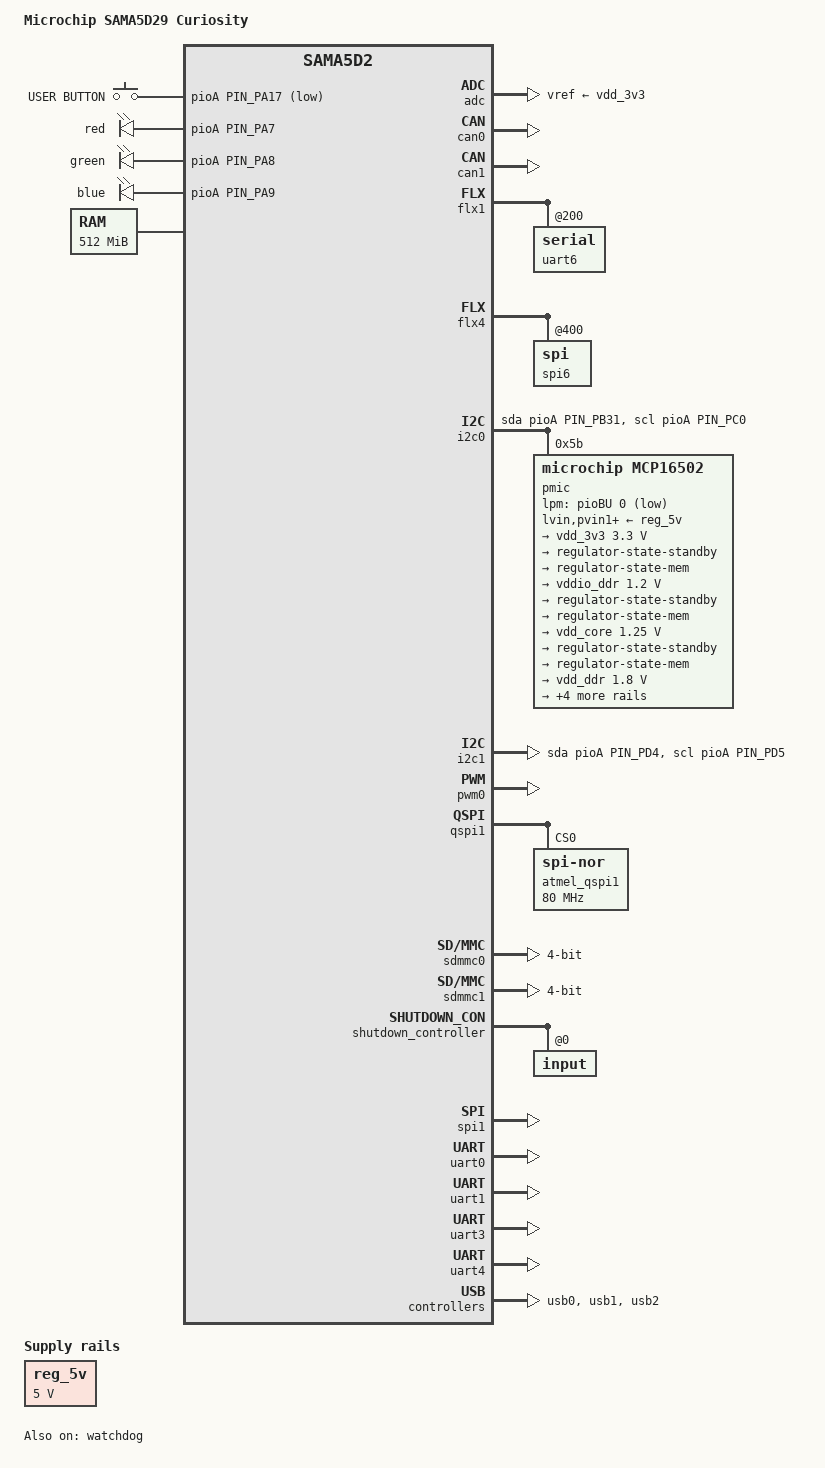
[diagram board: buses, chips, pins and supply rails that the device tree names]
// SPDX-License-Identifier: (GPL-2.0+ OR MIT)
/*
 * at91-sama5d29_curiosity.dts - Device Tree file for SAMA5D29 Curiosity board
 *
 * Copyright (C) 2023 Microchip Technology Inc. and its subsidiaries
 *
 * Author: Mihai Sain <mihai.sain@microchip.com>
 *
 */
/dts-v1/;
#include "sama5d29.dtsi"
#include "sama5d2-pinfunc.h"
#include <dt-bindings/gpio/gpio.h>
#include <dt-bindings/input/input.h>
#include <dt-bindings/mfd/atmel-flexcom.h>

/ {
	model = "Microchip SAMA5D29 Curiosity";
	compatible = "microchip,sama5d29-curiosity", "atmel,sama5d29", "atmel,sama5d2", "atmel,sama5";

	aliases {
		serial0 = &uart0;	// debug
		serial1 = &uart1;	// RPi
		serial2 = &uart3;	// mikro BUS 2
		serial3 = &uart4;	// mikro BUS 1
		serial4 = &uart6;	// flx1 Bluetooth
		i2c0 = &i2c0;
		i2c1 = &i2c1;
	};

	chosen {
		bootargs = "console=ttyS0,115200 root=/dev/mmcblk0p2 rw rootwait";
		stdout-path = "serial0:115200n8";
	};

	clocks {
		slow_xtal {
			clock-frequency = <32768>;
		};

		main_xtal {
			clock-frequency = <24000000>;
		};
	};

	gpio-keys {
		compatible = "gpio-keys";

		pinctrl-names = "default";
		pinctrl-0 = <&pinctrl_key_gpio_default>;

		button-1 {
			label = "USER BUTTON";
			gpios = <&pioA PIN_PA17 GPIO_ACTIVE_LOW>;
			linux,code = <KEY_PROG1>;
			wakeup-source;
		};
	};

	leds {
		compatible = "gpio-leds";
		pinctrl-names = "default";
		pinctrl-0 = <&pinctrl_led_gpio_default>;
		status = "okay";

		led-red {
			label = "red";
			gpios = <&pioA PIN_PA7 GPIO_ACTIVE_HIGH>;
		};

		led-green {
			label = "green";
			gpios = <&pioA PIN_PA8 GPIO_ACTIVE_HIGH>;
		};

		led-blue {
			label = "blue";
			gpios = <&pioA PIN_PA9 GPIO_ACTIVE_HIGH>;
			linux,default-trigger = "heartbeat";
		};
	};

	memory@20000000 {
		device_type = "memory";
		reg = <0x20000000 0x20000000>;
	};

	reg_5v: regulator-5v {
		compatible = "regulator-fixed";
		regulator-name = "5V_MAIN";
		regulator-min-microvolt = <5000000>;
		regulator-max-microvolt = <5000000>;
		regulator-always-on;
	};
};

&adc {
	vddana-supply = <&vdd_3v3>;
	vref-supply = <&vdd_3v3>;
	pinctrl-names = "default";
	pinctrl-0 = <&pinctrl_adc_default &pinctrl_adtrg_default>;
	status = "okay";
};

&can0 {
	pinctrl-names = "default";
	pinctrl-0 = <&pinctrl_can0_default>;
	status = "okay";
};

&can1 {
	pinctrl-names = "default";
	pinctrl-0 = <&pinctrl_can1_default>;
	status = "okay";
};

&flx1 {
	atmel,flexcom-mode = <ATMEL_FLEXCOM_MODE_USART>;
	status = "okay";

	uart6: serial@200 {
		pinctrl-0 = <&pinctrl_flx1_default>;
		pinctrl-names = "default";
		atmel,use-dma-rx;
		atmel,use-dma-tx;
		status = "okay";
	};
};

&flx4 {
	atmel,flexcom-mode = <ATMEL_FLEXCOM_MODE_SPI>;
	status = "okay";

	spi6: spi@400 {
		dmas = <0>, <0>;
		pinctrl-names = "default";
		pinctrl-0 = <&pinctrl_rpi_spi>;
		status = "okay";
	};
};

&i2c0 {
	dmas = <0>, <0>;
	pinctrl-names = "default", "gpio";
	pinctrl-0 = <&pinctrl_i2c0_default>;
	pinctrl-1 = <&pinctrl_i2c0_gpio>;
	sda-gpios = <&pioA PIN_PB31 GPIO_ACTIVE_HIGH>;
	scl-gpios = <&pioA PIN_PC0 (GPIO_ACTIVE_HIGH | GPIO_OPEN_DRAIN)>;
	i2c-sda-hold-time-ns = <350>;
	status = "okay";

	pmic@5b {
		compatible = "microchip,mcp16502";
		reg = <0x5b>;
		lvin-supply = <&reg_5v>;
		pvin1-supply = <&reg_5v>;
		pvin2-supply = <&reg_5v>;
		pvin3-supply = <&reg_5v>;
		pvin4-supply = <&reg_5v>;
		status = "okay";
		lpm-gpios = <&pioBU 0 GPIO_ACTIVE_LOW>;

		regulators {
			vdd_3v3: VDD_IO {
				regulator-name = "VDD_IO";
				regulator-min-microvolt = <3300000>;
				regulator-max-microvolt = <3300000>;
				regulator-initial-mode = <2>;
				regulator-allowed-modes = <2>, <4>;
				regulator-always-on;

				regulator-state-standby {
					regulator-on-in-suspend;
					regulator-mode = <4>;
				};

				regulator-state-mem {
					regulator-off-in-suspend;
					regulator-mode = <4>;
				};
			};

			vddio_ddr: VDD_DDR {
				regulator-name = "VDD_DDR";
				regulator-min-microvolt = <1200000>;
				regulator-max-microvolt = <1200000>;
				regulator-initial-mode = <2>;
				regulator-allowed-modes = <2>, <4>;
				regulator-always-on;

				regulator-state-standby {
					regulator-on-in-suspend;
					regulator-suspend-microvolt = <1200000>;
					regulator-changeable-in-suspend;
					regulator-mode = <4>;
				};

				regulator-state-mem {
					regulator-on-in-suspend;
					regulator-suspend-microvolt = <1200000>;
					regulator-changeable-in-suspend;
					regulator-mode = <4>;
				};
			};

			vdd_core: VDD_CORE {
				regulator-name = "VDD_CORE";
				regulator-min-microvolt = <1250000>;
				regulator-max-microvolt = <1250000>;
				regulator-initial-mode = <2>;
				regulator-allowed-modes = <2>, <4>;
				regulator-always-on;

				regulator-state-standby {
					regulator-on-in-suspend;
					regulator-mode = <4>;
				};

				regulator-state-mem {
					regulator-off-in-suspend;
					regulator-mode = <4>;
				};
			};

			vdd_ddr: VDD_OTHER {
				regulator-name = "VDD_OTHER";
				regulator-min-microvolt = <1800000>;
				regulator-max-microvolt = <1800000>;
				regulator-initial-mode = <2>;
				regulator-allowed-modes = <2>, <4>;
				regulator-always-on;

				regulator-state-standby {
					regulator-on-in-suspend;
					regulator-suspend-microvolt = <1800000>;
					regulator-changeable-in-suspend;
					regulator-mode = <4>;
				};

				regulator-state-mem {
					regulator-on-in-suspend;
					regulator-suspend-microvolt = <1800000>;
					regulator-changeable-in-suspend;
					regulator-mode = <4>;
				};
			};

			LDO1 {
				regulator-name = "LDO1";
				regulator-min-microvolt = <2500000>;
				regulator-max-microvolt = <2500000>;
				regulator-always-on;

				regulator-state-standby {
					regulator-on-in-suspend;
				};

				regulator-state-mem {
					regulator-off-in-suspend;
				};
			};

			LDO2 {
				regulator-name = "LDO2";
				regulator-min-microvolt = <3300000>;
				regulator-max-microvolt = <3300000>;
				regulator-always-on;

				regulator-state-standby {
					regulator-on-in-suspend;
				};

				regulator-state-mem {
					regulator-off-in-suspend;
				};
			};
		};
	};
};

&i2c1 {
	dmas = <0>, <0>;
	pinctrl-names = "default", "gpio";
	pinctrl-0 = <&pinctrl_i2c1_default>;
	pinctrl-1 = <&pinctrl_i2c1_gpio>;
	i2c-analog-filter;
	i2c-digital-filter;
	i2c-digital-filter-width-ns = <35>;
	sda-gpios = <&pioA PIN_PD4 GPIO_ACTIVE_HIGH>;
	scl-gpios = <&pioA PIN_PD5 (GPIO_ACTIVE_HIGH | GPIO_OPEN_DRAIN)>;
	status = "okay";
};

&pioA {
	pinctrl_adc_default: adc-default {
		pinmux = <PIN_PD25__GPIO>,
			 <PIN_PD26__GPIO>;
		bias-disable;
	};

	pinctrl_adtrg_default: adtrg-default {
		pinmux = <PIN_PD31__ADTRG>;
		bias-pull-up;
	};

	pinctrl_can0_default: can0-default {
		pinmux = <PIN_PC10__CANTX0>,
			 <PIN_PC11__CANRX0>;
		bias-disable;
	};

	pinctrl_can1_default: can1-default {
		pinmux = <PIN_PC26__CANTX1>,
			 <PIN_PC27__CANRX1>;
		bias-disable;
	};

	pinctrl_debug_uart: debug-uart {
		pinmux = <PIN_PB26__URXD0>,
			 <PIN_PB27__UTXD0>;
		bias-disable;
	};

	pinctrl_flx1_default: flx1-default {
		pinmux = <PIN_PA24__FLEXCOM1_IO0>,
			 <PIN_PA23__FLEXCOM1_IO1>,
			 <PIN_PA25__FLEXCOM1_IO3>,
			 <PIN_PA26__FLEXCOM1_IO4>;
		bias-disable;
	};

	pinctrl_i2c0_default: i2c0-default {
		pinmux = <PIN_PB31__TWD0>,
			 <PIN_PC0__TWCK0>;
		bias-disable;
	};

	pinctrl_i2c0_gpio: i2c0-gpio-default {
		pinmux = <PIN_PB31__GPIO>,
			 <PIN_PC0__GPIO>;
		bias-disable;
	};

	pinctrl_i2c1_default: i2c1-default {
		pinmux = <PIN_PD4__TWD1>,
			 <PIN_PD5__TWCK1>;
		bias-disable;
	};

	pinctrl_i2c1_gpio: i2c1-gpio-default {
		pinmux = <PIN_PD4__GPIO>,
			 <PIN_PD5__GPIO>;
		bias-disable;
	};

	pinctrl_key_gpio_default: key-gpio-default {
		pinmux = <PIN_PA17__GPIO>;
		bias-pull-up;
	};

	pinctrl_led_gpio_default: led-gpio-default {
		pinmux = <PIN_PA7__GPIO>,
			 <PIN_PA8__GPIO>,
			 <PIN_PA9__GPIO>;
		bias-pull-up;
	};

	pinctrl_mikrobus1_pwm: mikrobus1-pwm {
		pinmux = <PIN_PA31__PWML0>;
		bias-disable;
	};

	pinctrl_mikrobus2_pwm: mikrobus2-pwm {
		pinmux = <PIN_PB0__PWMH1>;
		bias-disable;
	};

	pinctrl_mikrobus1_uart: mikrobus1-uart {
		pinmux = <PIN_PB3__URXD4>,
			 <PIN_PB4__UTXD4>;
		bias-disable;
	};

	pinctrl_mikrobus2_uart: mikrobus2-uart {
		pinmux = <PIN_PB11__URXD3>,
			 <PIN_PB12__UTXD3>;
		bias-disable;
	};

	pinctrl_qspi1_default: qspi1-default {
		pinmux = <PIN_PB5__QSPI1_SCK>,
			 <PIN_PB6__QSPI1_CS>,
			 <PIN_PB7__QSPI1_IO0>,
			 <PIN_PB8__QSPI1_IO1>,
			 <PIN_PB9__QSPI1_IO2>,
			 <PIN_PB10__QSPI1_IO3>;
		bias-disable;
	};

	pinctrl_rpi_spi: rpi-spi {
		pinmux = <PIN_PD12__FLEXCOM4_IO0>,
			 <PIN_PD13__FLEXCOM4_IO1>,
			 <PIN_PD14__FLEXCOM4_IO2>,
			 <PIN_PD15__FLEXCOM4_IO3>,
			 <PIN_PD16__FLEXCOM4_IO4>;
		bias-disable;
	};

	pinctrl_rpi_uart: rpi-uart {
		pinmux = <PIN_PD2__URXD1>,
			 <PIN_PD3__UTXD1>;
		bias-disable;
	};

	pinctrl_sdmmc0_default: sdmmc0-default {
		pinmux = <PIN_PA0__SDMMC0_CK>,
			 <PIN_PA1__SDMMC0_CMD>,
			 <PIN_PA2__SDMMC0_DAT0>,
			 <PIN_PA3__SDMMC0_DAT1>,
			 <PIN_PA4__SDMMC0_DAT2>,
			 <PIN_PA5__SDMMC0_DAT3>,
			 <PIN_PA11__SDMMC0_VDDSEL>,
			 <PIN_PA13__SDMMC0_CD>;
		bias-disable;
	};

	pinctrl_sdmmc1_default: sdmmc1-default {
		pinmux = <PIN_PA18__SDMMC1_DAT0>,
			 <PIN_PA19__SDMMC1_DAT1>,
			 <PIN_PA20__SDMMC1_DAT2>,
			 <PIN_PA21__SDMMC1_DAT3>,
			 <PIN_PA22__SDMMC1_CK>,
			 <PIN_PA28__SDMMC1_CMD>,
			 <PIN_PA30__SDMMC1_CD>;
		bias-disable;
	};

	pinctrl_spi1_default: spi1-default {
		pinmux = <PIN_PC1__SPI1_SPCK>,
			 <PIN_PC2__SPI1_MOSI>,
			 <PIN_PC3__SPI1_MISO>,
			 <PIN_PC4__SPI1_NPCS0>,
			 <PIN_PC5__SPI1_NPCS1>,
			 <PIN_PC6__SPI1_NPCS2>,
			 <PIN_PC7__SPI1_NPCS3>;
		bias-disable;
	};

	pinctrl_usb_default: usb-default {
		pinmux = <PIN_PA6__GPIO>;
		bias-disable;
	};

	pinctrl_usba_vbus: usba-vbus {
		pinmux = <PIN_PB13__GPIO>;
		bias-disable;
	};
};

&pwm0 {
	pinctrl-names = "default";
	pinctrl-0 = <&pinctrl_mikrobus1_pwm &pinctrl_mikrobus2_pwm>;
	status = "okay";
};

&qspi1 {
	pinctrl-names = "default";
	pinctrl-0 = <&pinctrl_qspi1_default>;
	status = "okay";

	flash@0 {
		#address-cells = <1>;
		#size-cells = <1>;
		compatible = "jedec,spi-nor";
		reg = <0>;
		spi-max-frequency = <80000000>;
		spi-tx-bus-width = <4>;
		spi-rx-bus-width = <4>;
		m25p,fast-read;
		label = "atmel_qspi1";
		status = "okay";

		at91bootstrap@0 {
			label = "at91bootstrap";
			reg = <0x0 0x40000>;
		};

		bootloader@40000 {
			label = "bootloader";
			reg = <0x40000 0xc0000>;
		};

		bootloaderenvred@100000 {
			label = "bootloader env redundant";
			reg = <0x100000 0x40000>;
		};

		bootloaderenv@140000 {
			label = "bootloader env";
			reg = <0x140000 0x40000>;
		};

		dtb@180000 {
			label = "device tree";
			reg = <0x180000 0x80000>;
		};

		kernel@200000 {
			label = "kernel";
			reg = <0x200000 0x600000>;
		};
	};
};

&sdmmc0 {
	bus-width = <4>;
	no-1-8-v;
	pinctrl-names = "default";
	pinctrl-0 = <&pinctrl_sdmmc0_default>;
	disable-wp;
	status = "okay";
};

&sdmmc1 {
	bus-width = <4>;
	pinctrl-names = "default";
	pinctrl-0 = <&pinctrl_sdmmc1_default>;
	disable-wp;
	status = "okay";
};

&shutdown_controller {
	debounce-delay-us = <976>;
	atmel,wakeup-rtc-timer;

	input@0 {
		reg = <0>;
	};
};

&spi1 {
	pinctrl-names = "default";
	pinctrl-0 = <&pinctrl_spi1_default>;
	status = "okay";
};

&tcb0 {
	timer0: timer@0 {
		compatible = "atmel,tcb-timer";
		reg = <0>;
	};

	timer1: timer@1 {
		compatible = "atmel,tcb-timer";
		reg = <1>;
	};
};

&uart0 {
	pinctrl-names = "default";
	pinctrl-0 = <&pinctrl_debug_uart>;
	atmel,use-dma-rx;
	atmel,use-dma-tx;
	status = "okay";
};

&uart1 {
	pinctrl-names = "default";
	pinctrl-0 = <&pinctrl_rpi_uart>;
	atmel,use-dma-rx;
	atmel,use-dma-tx;
	status = "okay";
};

&uart3 {
	pinctrl-names = "default";
	pinctrl-0 = <&pinctrl_mikrobus2_uart>;
	atmel,use-dma-rx;
	atmel,use-dma-tx;
	status = "okay";
};

&uart4 {
	pinctrl-names = "default";
	pinctrl-0 = <&pinctrl_mikrobus1_uart>;
	atmel,use-dma-rx;
	atmel,use-dma-tx;
	status = "okay";
};

&usb0 {
	atmel,vbus-gpio = <&pioA PIN_PB13 GPIO_ACTIVE_HIGH>;
	pinctrl-names = "default";
	pinctrl-0 = <&pinctrl_usba_vbus>;
	status = "okay";
};

&usb1 {
	num-ports = <3>;
	atmel,vbus-gpio = <0
			   &pioA PIN_PA6 GPIO_ACTIVE_HIGH
			   0>;
	pinctrl-names = "default";
	pinctrl-0 = <&pinctrl_usb_default>;
	status = "okay";
};

&usb2 {
	status = "okay";
};

&watchdog {
	status = "okay";
};
